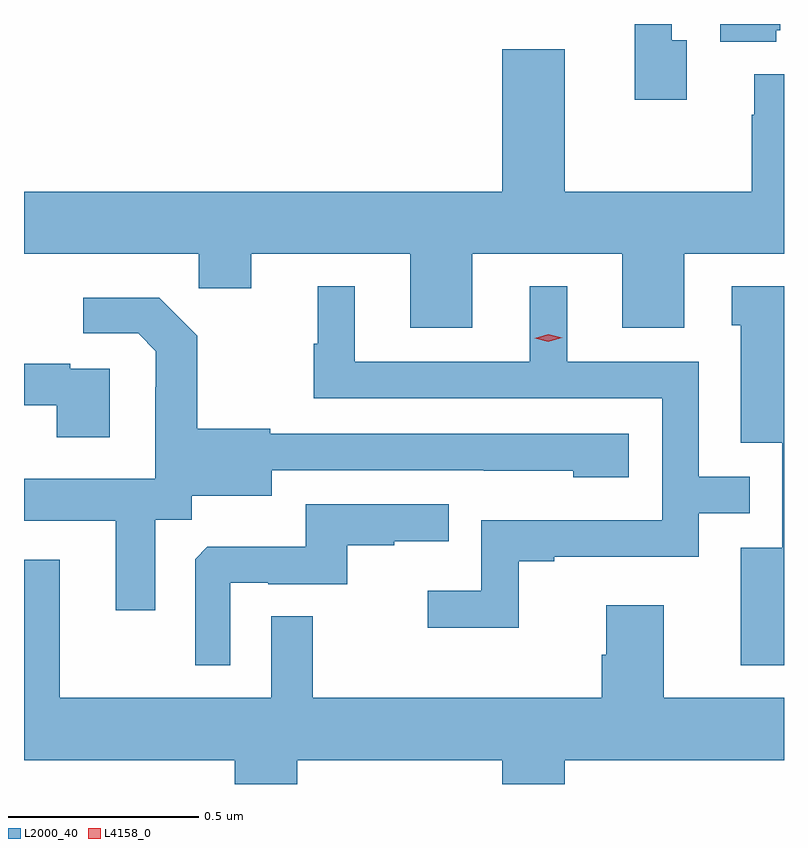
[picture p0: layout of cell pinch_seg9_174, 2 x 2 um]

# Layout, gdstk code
import gdstk
lib = gdstk.Library(unit=1e-6, precision=1e-09)
def P(c, l, *ps):  # polygons
    for p in ps: c.add(gdstk.Polygon(p, *l))
L2000_40 = (2000, 40)
L4158_0 = (4158, 0)

pinch_seg9_174 = lib.new_cell('pinch_seg9_174')
P(pinch_seg9_174, L2000_40, [(669.224,1167.705),(669.235,1167.705),(669.235,1167.721),(669.077,1167.721),(669.077,1167.674),(669.224,1167.674)],
  [(668.989,1167.678),(668.949,1167.678),(668.949,1167.721),(668.852,1167.721),(668.852,1167.522),(668.989,1167.522)],
  [(668.425,1167.116),(668.819,1167.116),(668.819,1166.922),(668.983,1166.922),(668.983,1167.116),(669.245,1167.116),(669.245,1167.589),(669.167,1167.589),(669.167,1167.482),(669.16,1167.482),(669.16,1167.28),(668.668,1167.28),(668.668,1167.655),(668.504,1167.655),(668.504,1167.28),(667.245,1167.28),(667.245,1167.116),(667.705,1167.116),(667.705,1167.026),(667.843,1167.026),(667.843,1167.116),(668.261,1167.116),(668.261,1166.922),(668.425,1166.922)],
  [(668.547,1166.307),(668.641,1166.307),(668.641,1166.319),(669.021,1166.319),(669.021,1166.433),(669.155,1166.433),(669.155,1166.529),(669.021,1166.529),(669.021,1166.832),(668.674,1166.832),(668.674,1167.031),(668.576,1167.031),(668.576,1166.832),(668.116,1166.832),(668.116,1167.031),(668.018,1167.031),(668.018,1166.88),(668.007,1166.88),(668.007,1166.736),(668.925,1166.736),(668.925,1166.415),(668.448,1166.415),(668.448,1166.23),(668.307,1166.23),(668.307,1166.132),(668.547,1166.132)],
  [(669.245,1167.031),(669.107,1167.031),(669.107,1166.928),(669.131,1166.928),(669.131,1166.619),(669.24,1166.619),(669.24,1166.343),(669.131,1166.343),(669.131,1166.034),(669.245,1166.034)],
  [(667.591,1166.416),(667.686,1166.416),(667.686,1166.48),(667.897,1166.48),(667.897,1166.547),(668.455,1166.547),(668.455,1166.546),(668.691,1166.546),(668.691,1166.528),(668.836,1166.528),(668.836,1166.643),(667.893,1166.643),(667.893,1166.656),(667.701,1166.656),(667.701,1166.901),(667.601,1167.001),(667.401,1167.001),(667.401,1166.907),(667.545,1166.907),(667.592,1166.86),(667.592,1166.765),(667.59,1166.765),(667.59,1166.524),(667.245,1166.524),(667.245,1166.414),(667.487,1166.414),(667.487,1166.178),(667.591,1166.178)],
  [(667.471,1166.814),(667.367,1166.814),(667.367,1166.827),(667.245,1166.827),(667.245,1166.718),(667.331,1166.718),(667.331,1166.634),(667.471,1166.634)],
  [(667.788,1166.25),(667.888,1166.25),(667.888,1166.247),(668.096,1166.247),(668.096,1166.349),(668.219,1166.349),(668.219,1166.36),(668.363,1166.36),(668.363,1166.457),(667.986,1166.457),(667.986,1166.345),(667.727,1166.345),(667.695,1166.313),(667.695,1166.033),(667.788,1166.033)],
  [(667.964,1165.784),(668.504,1165.784),(668.504,1165.721),(668.668,1165.721),(668.668,1165.784),(669.245,1165.784),(669.245,1165.948),(668.929,1165.948),(668.929,1166.191),(668.777,1166.191),(668.777,1166.061),(668.765,1166.061),(668.765,1165.948),(668.005,1165.948),(668.005,1166.162),(667.896,1166.162),(667.896,1165.948),(667.339,1165.948),(667.339,1166.311),(667.245,1166.311),(667.245,1165.784),(667.799,1165.784),(667.799,1165.721),(667.964,1165.721)])
P(pinch_seg9_174, L4158_0, [(668.625,1166.885),(668.589,1166.894),(668.589,1166.894),(668.589,1166.894),(668.625,1166.905),(668.661,1166.896),(668.661,1166.896),(668.661,1166.896)])

lib.write_gds('pinch_seg9_174.gds')
